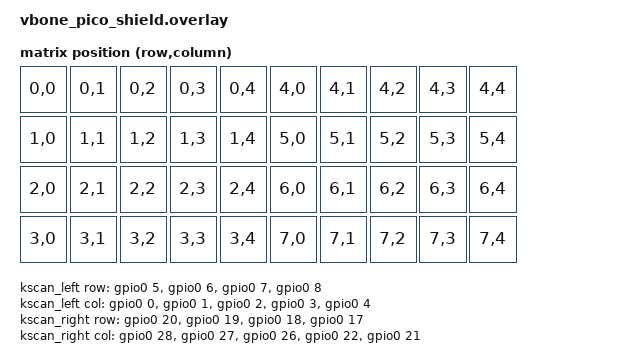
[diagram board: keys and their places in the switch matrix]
#include <dt-bindings/zmk/matrix_transform.h>
#include "miryoku_layout.h"

/ {
    chosen {
        zmk,kscan = &kscan_composite;
        zmk,matrix_transform = &default_transform;
    };


default_transform: matrix_transform {
        compatible = "zmk,matrix-transform";
        columns = <5>;
        rows = <8>;
        map = <
            RC(0,0) RC(0,1) RC(0,2) RC(0,3) RC(0,4)  RC(4,0) RC(4,1) RC(4,2) RC(4,3) RC(4,4)
            RC(1,0) RC(1,1) RC(1,2) RC(1,3) RC(1,4)  RC(5,0) RC(5,1) RC(5,2) RC(5,3) RC(5,4)
            RC(2,0) RC(2,1) RC(2,2) RC(2,3) RC(2,4)  RC(6,0) RC(6,1) RC(6,2) RC(6,3) RC(6,4)
            RC(3,0) RC(3,1) RC(3,2) RC(3,3) RC(3,4)  RC(7,0) RC(7,1) RC(7,2) RC(7,3) RC(7,4)
        >;
    };

    kscan_composite: kscan_composite {
        compatible = "zmk,kscan-composite";
        rows = <8>;
        columns = <5>;
        left {
            kscan = <&kscan_left>;
        };
        right {
            kscan = <&kscan_right>;
            row-offset = <4>; // Move right side to rows 4-7
        };
    };

    kscan_left: kscan_left {
        compatible = "zmk,kscan-gpio-matrix";
        diode-direction = "col2row";
        row-gpios = <&gpio0 5 (GPIO_ACTIVE_HIGH | GPIO_PULL_DOWN)>, 
                    <&gpio0 6 (GPIO_ACTIVE_HIGH | GPIO_PULL_DOWN)>, 
                    <&gpio0 7 (GPIO_ACTIVE_HIGH | GPIO_PULL_DOWN)>, 
                    <&gpio0 8 (GPIO_ACTIVE_HIGH | GPIO_PULL_DOWN)>;
        col-gpios = <&gpio0 0 GPIO_ACTIVE_HIGH>, 
                    <&gpio0 1 GPIO_ACTIVE_HIGH>, 
                    <&gpio0 2 GPIO_ACTIVE_HIGH>, 
                    <&gpio0 3 GPIO_ACTIVE_HIGH>, 
                    <&gpio0 4 GPIO_ACTIVE_HIGH>;
    };

    kscan_right: kscan_right {
        compatible = "zmk,kscan-gpio-matrix";
        diode-direction = "col2row";
        row-gpios = <&gpio0 20 (GPIO_ACTIVE_HIGH | GPIO_PULL_DOWN)>, 
                    <&gpio0 19 (GPIO_ACTIVE_HIGH | GPIO_PULL_DOWN)>, 
                    <&gpio0 18 (GPIO_ACTIVE_HIGH | GPIO_PULL_DOWN)>, 
                    <&gpio0 17 (GPIO_ACTIVE_HIGH | GPIO_PULL_DOWN)>;
        col-gpios = <&gpio0 28 GPIO_ACTIVE_HIGH>, 
                    <&gpio0 27 GPIO_ACTIVE_HIGH>, 
                    <&gpio0 26 GPIO_ACTIVE_HIGH>, 
                    <&gpio0 22 GPIO_ACTIVE_HIGH>, 
                    <&gpio0 21 GPIO_ACTIVE_HIGH>;
    };
};
